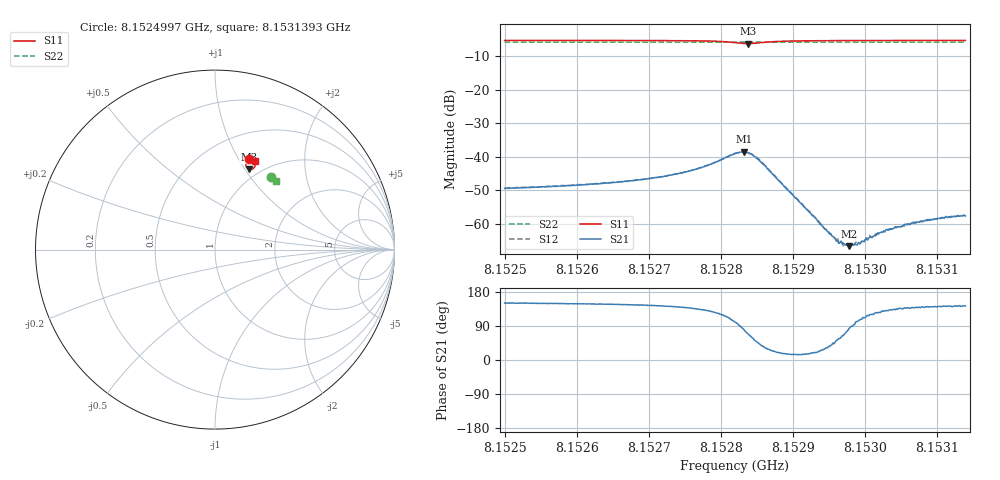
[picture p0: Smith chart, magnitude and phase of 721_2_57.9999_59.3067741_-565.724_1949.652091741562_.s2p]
#  HZ  S  RI  R  50.00
! Rohde & Schwarz Vector Network Analyzer
! Rohde-Schwarz,ZNB20-2Port,1311601062101988,3.16
! Created: UTC 3/21/2024, 1:22:41 AM
! freq[Hz]  re:S11  im:S11  re:S21  im:S21  re:S12  im:S12  re:S22  im:S22
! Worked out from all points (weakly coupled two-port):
!   401 points, 8.1524997 GHz to 8.1531393 GHz, reference 50 ohm
!   highest |S21| = -38.51 dB at 8.1528323 GHz (marker M1); lowest = -66.6 dB at 8.1529778 GHz (marker M2)
!   lowest |S11| = -6.3 dB at 8.1528371 GHz (marker M3), VSWR 2.89, Z = 44.4 + j52.1 ohm
!   |S11| at or under -10 dB: nowhere
!   |S22| runs from -5.9 to -5.8 dB; largest |S21 - S12| = 0.00035
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8.15249965e9  0.1898 0.506  -0.00293 0.00167  -0.00291 0.00174  0.3111 0.4057
8.1526068e9  0.1987 0.5024  -0.00325 0.00202  -0.00324 0.0021  0.3163 0.4013
8.15266277e9  0.2044 0.4998  -0.00351 0.00237  -0.00353 0.00244  0.3192 0.3991
8.15271394e9  0.2103 0.4961  -0.00397 0.00297  -0.00396 0.00305  0.3217 0.3969
8.15274912e9  0.2155 0.4915  -0.00443 0.00388  -0.00441 0.00397  0.3234 0.3951
8.15277311e9  0.22 0.4855  -0.00474 0.00505  -0.00472 0.00512  0.3246 0.3939
8.15281948e9  0.2155 0.4535  -0.00197 0.011  -0.00192 0.0111  0.3262 0.391
8.15283228e9  0.1966 0.4463  0.00222 0.0117  0.00223 0.0117  0.3259 0.3905
8.15283707e9  0.1881 0.4482  0.004 0.0107  0.0039 0.011  0.3259 0.3905
8.15284507e9  0.1768 0.4569  0.00581 0.00856  0.00598 0.00867  0.3259 0.3906
8.15285466e9  0.1719 0.4705  0.00647 0.00557  0.00668 0.00559  0.3264 0.3908
8.15292663e9  0.1965 0.4982  0.00126 0.00043  0.00132 0.000384  0.331 0.3887
8.15294262e9  0.1999 0.4984  0.000773 0.000415  0.000795 0.000371  0.3319 0.3881
8.15296181e9  0.2032 0.4982  0.000331 0.000448  0.000391 0.000471  0.3329 0.387
8.1529698e9  0.2045 0.4981  0.000223 0.000466  0.000211 0.000422  0.3333 0.3867
8.1529778e9  0.2057 0.4979  5.7e-05 0.000467  0.000101 0.000454  0.3337 0.3864
8.15299059e9  0.2073 0.4977  -0.000121 0.00051  -0.0001 0.000504  0.3342 0.3859
8.15301938e9  0.2106 0.4968  -0.000425 0.000592  -0.000407 0.000576  0.3357 0.3845
8.15303377e9  0.2123 0.4965  -0.000564 0.000625  -0.000554 0.000628  0.3364 0.3838
8.15308654e9  0.2172 0.4949  -0.000863 0.000704  -0.000883 0.000744  0.3389 0.3817
8.15310893e9  0.2192 0.4942  -0.000971 0.000748  -0.000959 0.00078  0.34 0.3808
8.15313931e9  0.2218 0.4934  -0.00104 0.000799  -0.00108 0.000826  0.3414 0.3795
